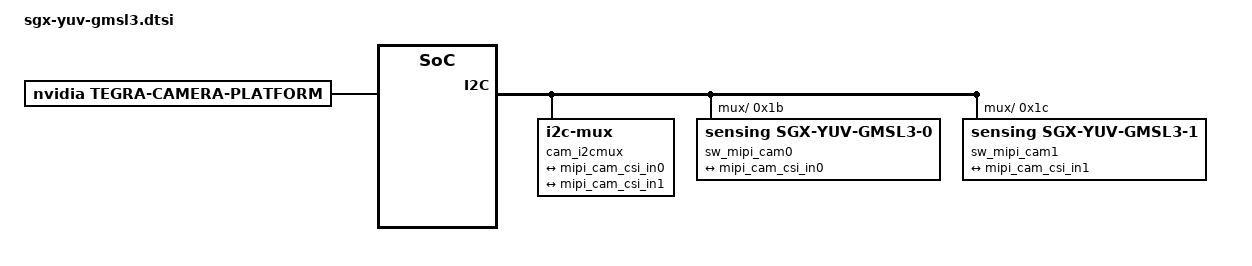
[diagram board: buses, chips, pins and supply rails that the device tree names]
/*
 * Copyright (c) 2022-2023, NVIDIA CORPORATION.  All rights reserved.
 *
 * This program is free software; you can redistribute it and/or modify
 * it under the terms of the GNU General Public License as published by
 * the Free Software Foundation; either version 2 of the License, or
 * (at your option) any later version.
 *
 * This program is distributed in the hope that it will be useful, but WITHOUT
 * ANY WARRANTY; without even the implied warranty of MERCHANTABILITY or
 * FITNESS FOR A PARTICULAR PURPOSE.  See the GNU General Public License for
 * more details.
 *
 * You should have received a copy of the GNU General Public License
 * along with this program.  If not, see <http://www.gnu.org/licenses/>.
 */
#define CAM0_PWDN	TEGRA234_MAIN_GPIO(H, 6)
#define CAM1_PWDN	TEGRA234_MAIN_GPIO(AC, 0)
#define CAM_I2C_MUX 	TEGRA234_AON_GPIO(CC, 3)

/ {
	tegra-capture-vi  {
		num-channels = <2>;
		ports {
			#address-cells = <1>;
			#size-cells = <0>;
			port@0 {
				reg = <0>;
				mipi_cam_vi_in0: endpoint {
					port-index = <0>;
					bus-width = <2>;
					remote-endpoint = <&mipi_cam_csi_out0>;
				};
			};
			port@1 {
				reg = <1>;
				mipi_cam_vi_in1: endpoint {
					port-index = <2>;
					bus-width = <4>;
					remote-endpoint = <&mipi_cam_csi_out1>;
				};
			};
		};
	};

	host1x@13e00000 {
		nvcsi@15a00000 {
			num-channels = <2>;
			#address-cells = <1>;
			#size-cells = <0>;
			channel@0 {
				reg = <0>;
				ports {
					#address-cells = <1>;
					#size-cells = <0>;
					port@0 {
						reg = <0>;
						mipi_cam_csi_in0: endpoint@0 {
							port-index = <0>;
							bus-width = <4>;
							remote-endpoint = <&mipi_cam_out0>;
						};
					};
					port@1 {
						reg = <1>;
						mipi_cam_csi_out0: endpoint@1 {
							remote-endpoint = <&mipi_cam_vi_in0>;
						};
					};
				};
			};
			channel@1 {
				reg = <1>;
				ports {
					#address-cells = <1>;
					#size-cells = <0>;
					port@0 {
						reg = <0>;
						mipi_cam_csi_in1: endpoint@2 {
							port-index = <2>;
							bus-width = <4>;
							remote-endpoint = <&mipi_cam_out1>;
						};
					};
					port@1 {
						reg = <1>;
						mipi_cam_csi_out1: endpoint@3 {
							remote-endpoint = <&mipi_cam_vi_in1>;
						};
					};
				};
			};
		};
	};
//cam0没有调试过，cam1可以点亮
	cam_i2cmux {
		i2c@0 {
			sw_mipi_cam0: cam_0@1b {
				compatible = "sensing,sgx-yuv-gmsl3-0";
				/* I2C device address */
				reg = <0x1b>;
				def-addr = <0x1a>;
				/* V4L2 device node location */
				devnode = "video0";

				/* Physical dimensions of sensor */
				physical_w = "15.0";
				physical_h = "12.5";

				sensor_model ="sgx-yuv-gmsl3";

				use_sensor_mode_id = "true";

				mode0 {//mode SENSOR_MODE_1920X1080
					mclk_khz = "24000";
					num_lanes = "4";
					tegra_sinterface = "serial_a";
					phy_mode = "DPHY";
					discontinuous_clk = "no";
					dpcm_enable = "false";
					cil_settletime = "0";
					lane_polarity = "6";
					dynamic_pixel_bit_depth = "16";
					csi_pixel_bit_depth = "16";
					mode_type = "yuv";
					pixel_phase = "yuyv";
					
					active_w = "1920";
					active_h = "1080";
					readout_orientation = "0";
					line_length = "1920";
					inherent_gain = "1";
					pix_clk_hz = "150000000";
					serdes_pix_clk_hz = "375000000";

					gain_factor = "10";
					min_gain_val = "0"; /* dB */
					max_gain_val = "300"; /* dB */
					step_gain_val = "3"; /* 0.3 */
					default_gain = "0";
					min_hdr_ratio = "1";
					max_hdr_ratio = "1";
					framerate_factor = "1000000";
					min_framerate = "30000000";
					max_framerate = "30000000";
					step_framerate = "1";
					default_framerate = "30000000";
					exposure_factor = "1000000";
					min_exp_time = "59"; /*us, 2 lines*/
					max_exp_time = "33333";
					step_exp_time = "1";
					default_exp_time = "33333";/* us */
					embedded_metadata_height = "0";
				};

				ports {
					#address-cells = <1>;
					#size-cells = <0>;

					port@0 {
						reg = <0>;
						mipi_cam_out0: endpoint {
							port-index = <0>;
							bus-width = <2>;
							remote-endpoint = <&mipi_cam_csi_in0>;
						};
					};
				};
			};
		};
		i2c@1 {
			sw_mipi_cam1: cam_1@1c {
				compatible = "sensing,sgx-yuv-gmsl3-1";
				reg = <0x1c>;
				def-addr = <0x1a>;
				devnode = "video1";

				/* Physical dimensions of sensor */
				physical_w = "15.0";
				physical_h = "12.5";

				sensor_model ="sgx-yuv-gmsl3";

				/* Defines number of frames to be dropped by driver internally after applying */
				/* sensor crop settings. Some sensors send corrupt frames after applying */
				/* crop co-ordinates */
				post_crop_frame_drop = "0";

				/* Convert Gain to unit of dB (decibel) befor passing to kernel driver */
				use_decibel_gain = "true";

				/* enable CID_SENSOR_MODE_ID for sensor modes selection */
				use_sensor_mode_id = "true";

				mode0 {/*mode SENSOR_MODE_1920X1080_CROP_30FPS*/
						mclk_khz = "24000";
						num_lanes = "4";
						tegra_sinterface = "serial_c";
						discontinuous_clk = "no";
						dpcm_enable = "false";
						cil_settletime = "0";
						lane_polarity = "0";

						active_w = "3840";
						active_h = "2160";
						mode_type = "yuv";
						pixel_phase = "yuyv";
						csi_pixel_bit_depth = "16";
						dynamic_pixel_bit_depth = "16";
						readout_orientation = "0";
						line_length = "3840";
						inherent_gain = "1";
						pix_clk_hz = "150000000";
						serdes_pix_clk_hz = "375000000";
											
						gain_factor = "10";
						min_gain_val = "0"; /* dB */
						max_gain_val = "300"; /* dB */
						step_gain_val = "3"; /* 0.3 */
						default_gain = "0";
						min_hdr_ratio = "1";
						max_hdr_ratio = "1";
						framerate_factor = "1000000";
						min_framerate = "30000000";
						max_framerate = "30000000";
						step_framerate = "1";
						default_framerate = "30000000";
						exposure_factor = "1000000";
						min_exp_time = "59"; /*us, 2 lines*/
						max_exp_time = "33333";
						step_exp_time = "1";
						default_exp_time = "33333";/* us */
						embedded_metadata_height = "0";

					};
				
				ports {
					#address-cells = <1>;
					#size-cells = <0>;

					port@0 {
						reg = <0>;
						mipi_cam_out1: endpoint {
							port-index = <2>;
							bus-width = <4>;
							remote-endpoint = <&mipi_cam_csi_in1>;
						};
					};
				};	
//				gmsl-link {
//					src-csi-port = "b";
//					dst-csi-port = "a";
//					serdes-csi-link = "a";
//					csi-mode = "1x4";
//					st-vc = <0>;
//					vc-id = <1>;
//					num-lanes = <4>;
//					streams = "ued-u1","yuv16";
//				};
			};
		};
	};
};

/ {
	tegra-camera-platform {
		compatible = "nvidia, tegra-camera-platform";

		num_csi_lanes = <4>;
		max_lane_speed = <4000000>;
		min_bits_per_pixel = <10>;
		vi_peak_byte_per_pixel = <2>;
		vi_bw_margin_pct = <25>;
		isp_peak_byte_per_pixel = <5>;
		isp_bw_margin_pct = <25>;

		/**
		 * The general guideline for naming badge_info contains 3 parts, and is as follows,
		 * The first part is the camera_board_id for the module; if the module is in a FFD
		 * platform, then use the platform name for this part.
		 * The second part contains the position of the module, ex. "rear" or "front".
		 * The third part contains the last 6 characters of a part number which is found
		 * in the module's specsheet from the vender.
		 */
		modules {
			module0 {
				badge = "cam0_position0";
				position = "position0";
				orientation = "1";
				drivernode0 {
					/* Declare PCL support driver (classically known as guid)  */
					pcl_id = "v4l2_sensor";
					/* Driver v4l2 device name */
					devname = "sgx-yuv-gmsl3 9-001b";
					/* Declare the device-tree hierarchy to driver instance */
					proc-device-tree = "/proc/device-tree/cam_i2cmux/i2c@0/cam_0@1b";
				};
			};
			module1 {
				badge = "cam1_position1";
				position = "position1";
				orientation = "1";
				drivernode0 {
					/* Declare PCL support driver (classically known as guid)  */
					pcl_id = "v4l2_sensor";
					/* Driver v4l2 device name */
					devname = "sgx-yuv-gmsl3 10-001c";
					/* Declare the device-tree hierarchy to driver instance */
					proc-device-tree = "/proc/device-tree/cam_i2cmux/i2c@1/cam_1@1c";
				};
			};
		};
	};
};
